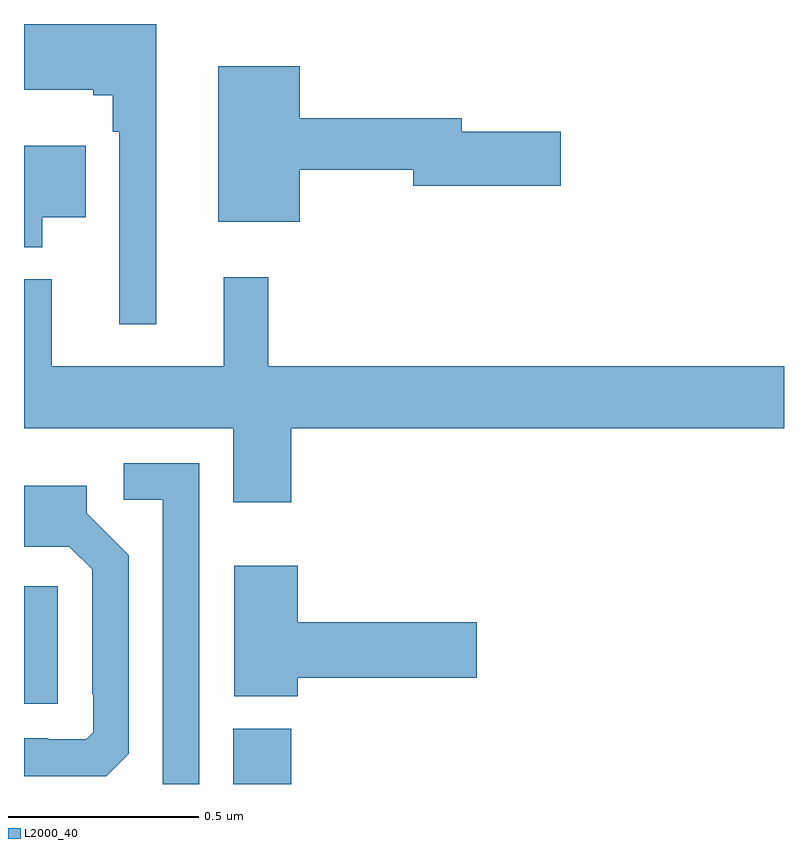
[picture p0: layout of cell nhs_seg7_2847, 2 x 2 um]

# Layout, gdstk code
import gdstk
lib = gdstk.Library(unit=1e-6, precision=1e-09)
def R(c, l, rs):  # rectangles x0, y0, x1, y1
    for r in rs: c.add(gdstk.rectangle(r[:2], r[2:], *l))
def P(c, l, *ps):  # polygons
    for p in ps: c.add(gdstk.Polygon(p, *l))
L2000_40 = (2000, 40)

nhs_seg7_2847 = lib.new_cell('nhs_seg7_2847')
R(nhs_seg7_2847, L2000_40, [(151.55,1013,151.703,1013.146), (151,1013.211,151.089,1013.521)])
P(nhs_seg7_2847, L2000_40, [(151.348,1015),(151,1015),(151,1014.827),(151.182,1014.827),(151.182,1014.812),(151.233,1014.812),(151.233,1014.716),(151.251,1014.716),(151.251,1014.21),(151.348,1014.21)],
  [(151.726,1014.616),(152.024,1014.616),(152.024,1014.574),(152.413,1014.574),(152.413,1014.716),(152.152,1014.716),(152.152,1014.752),(151.726,1014.752),(151.726,1014.889),(151.511,1014.889),(151.511,1014.479),(151.726,1014.479)],
  [(151.048,1014.491),(151.162,1014.491),(151.162,1014.679),(151,1014.679),(151,1014.413),(151.048,1014.413)],
  [(151.703,1013.936),(153,1013.936),(153,1014.1),(151.643,1014.1),(151.643,1014.334),(151.526,1014.334),(151.526,1014.1),(151.073,1014.1),(151.073,1014.328),(151,1014.328),(151,1013.936),(151.55,1013.936),(151.55,1013.742),(151.703,1013.742)],
  [(151.461,1013.844),(151.263,1013.844),(151.263,1013.748),(151.365,1013.748),(151.365,1013),(151.461,1013)],
  [(151.115,1013.021),(151.216,1013.021),(151.275,1013.08),(151.275,1013.602),(151.165,1013.712),(151.165,1013.785),(151,1013.785),(151,1013.625),(151.119,1013.625),(151.179,1013.565),(151.179,1013.236),(151.182,1013.236),(151.182,1013.136),(151.164,1013.118),(151.064,1013.118),(151.064,1013.121),(151,1013.121),(151,1013.02),(151.115,1013.02)],
  [(151.72,1013.279),(152.191,1013.279),(152.191,1013.426),(151.72,1013.426),(151.72,1013.575),(151.553,1013.575),(151.553,1013.231),(151.72,1013.231)])

lib.write_gds('nhs_seg7_2847.gds')
